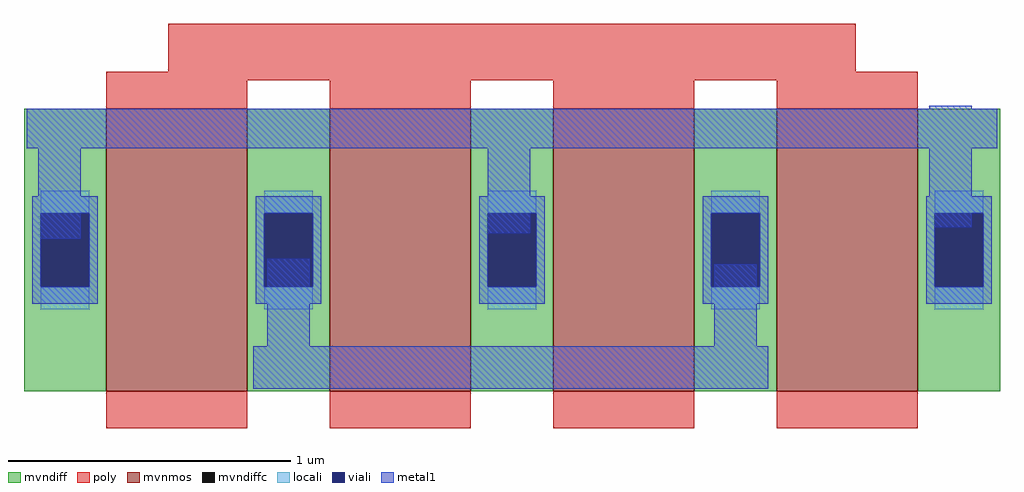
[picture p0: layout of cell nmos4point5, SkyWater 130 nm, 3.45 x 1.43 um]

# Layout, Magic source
magic
tech sky130A
magscale 1 2
<< poly >>
rect 102 246 588 286
<< metal1 >>
rect 640 226 670 228
rect 2 198 688 226
rect 10 134 40 198
rect 328 138 358 198
rect 640 142 670 198
rect 172 58 202 120
rect 488 58 518 116
rect 162 28 526 58
use sky130_fd_pr__nfet_g5v0d10v5_D8BGLR  sky130_fd_pr__nfet_g5v0d10v5_D8BGLR_0
transform 1 0 345 0 1 126
box -345 -126 345 126
<< end >>

# cell sky130_fd_pr__nfet_g5v0d10v5_D8BGLR: kit device sky130_fd_pr__nfet_g5v0d10v5, w 1 l 0.5 m 1 nf 4 diffcov 30 polycov 100 guard 0 glc 0 grc 0 gtc 0 gbc 0 tbcov 100 rlcov 100 topc 0 botc 0 poverlap 0 doverlap 1 lmin 0.50 wmin 0.42 compatible {sky130_fd_pr__nfet_01v8 sky130_fd_pr__nfet_01v8_lvt sky130_fd_bs_flash__special_sonosfet_star sky130_fd_pr__nfet_g5v0d10v5 sky130_fd_pr__nfet_05v0_nvt sky130_fd_pr__nfet_03v3_nvt} full_metal 0 viasrc 30 viadrn 30 viagate 100 viagb 0 viagr 0 viagl 0 viagt 0
